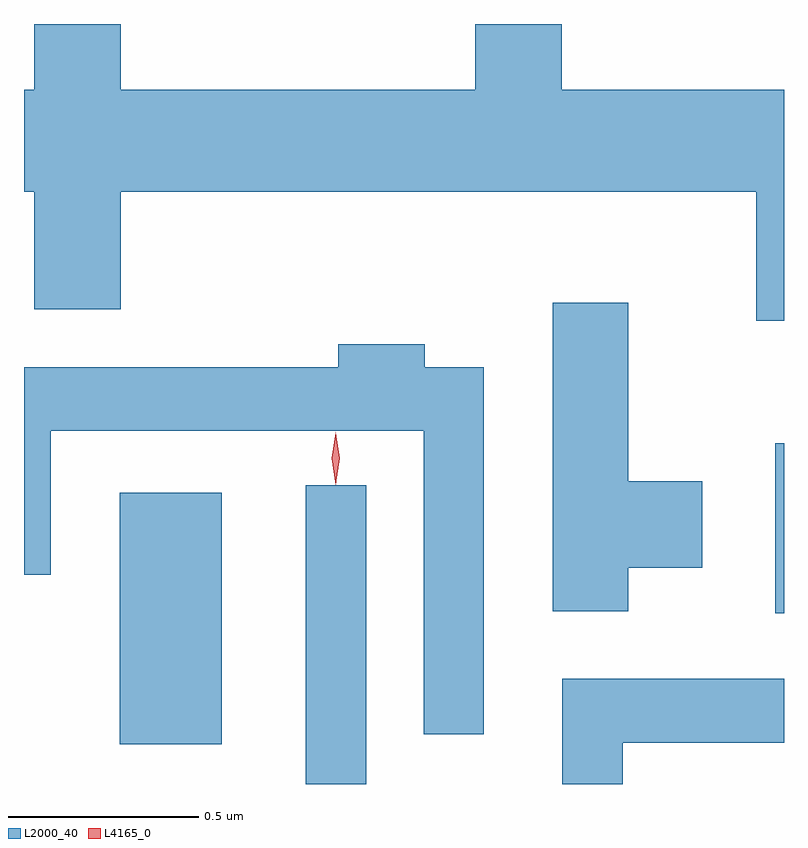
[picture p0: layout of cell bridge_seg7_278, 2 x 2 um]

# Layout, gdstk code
import gdstk
lib = gdstk.Library(unit=1e-6, precision=1e-09)
def R(c, l, rs):  # rectangles x0, y0, x1, y1
    for r in rs: c.add(gdstk.rectangle(r[:2], r[2:], *l))
def P(c, l, *ps):  # polygons
    for p in ps: c.add(gdstk.Polygon(p, *l))
L2000_40 = (2000, 40)
L4165_0 = (4165, 0)

bridge_seg7_278 = lib.new_cell('bridge_seg7_278')
R(bridge_seg7_278, L2000_40, [(1440.456,1763.817,1440.614,1764.603), (1439.966,1763.921,1440.234,1764.584), (1441.691,1764.266,1441.714,1764.714)])
P(bridge_seg7_278, L2000_40, [(1441.714,1765.644),(1441.129,1765.644),(1441.129,1765.817),(1440.901,1765.817),(1440.901,1765.644),(1439.969,1765.644),(1439.969,1765.817),(1439.741,1765.817),(1439.741,1765.644),(1439.714,1765.644),(1439.714,1765.376),(1439.741,1765.376),(1439.741,1765.066),(1439.969,1765.066),(1439.969,1765.376),(1441.641,1765.376),(1441.641,1765.036),(1441.714,1765.036)],
  [(1441.304,1764.386),(1441.499,1764.386),(1441.499,1764.614),(1441.304,1764.614),(1441.304,1765.084),(1441.106,1765.084),(1441.106,1764.271),(1441.304,1764.271)],
  [(1440.924,1764.914),(1440.769,1764.914),(1440.769,1764.974),(1440.541,1764.974),(1440.541,1764.914),(1439.714,1764.914),(1439.714,1764.368),(1439.784,1764.368),(1439.784,1764.746),(1440.766,1764.746),(1440.766,1763.948),(1440.924,1763.948)],
  [(1441.289,1763.926),(1441.714,1763.926),(1441.714,1764.094),(1441.131,1764.094),(1441.131,1763.817),(1441.289,1763.817)])
P(bridge_seg7_278, L4165_0, [(1440.534,1764.604),(1440.534,1764.604),(1440.524,1764.674),(1440.534,1764.742),(1440.534,1764.743),(1440.535,1764.742),(1440.544,1764.674),(1440.535,1764.604)],
  [(1440.534,1764.607),(1440.525,1764.674),(1440.534,1764.74),(1440.535,1764.74),(1440.535,1764.74),(1440.545,1764.674),(1440.535,1764.607),(1440.535,1764.607)])

lib.write_gds('bridge_seg7_278.gds')
